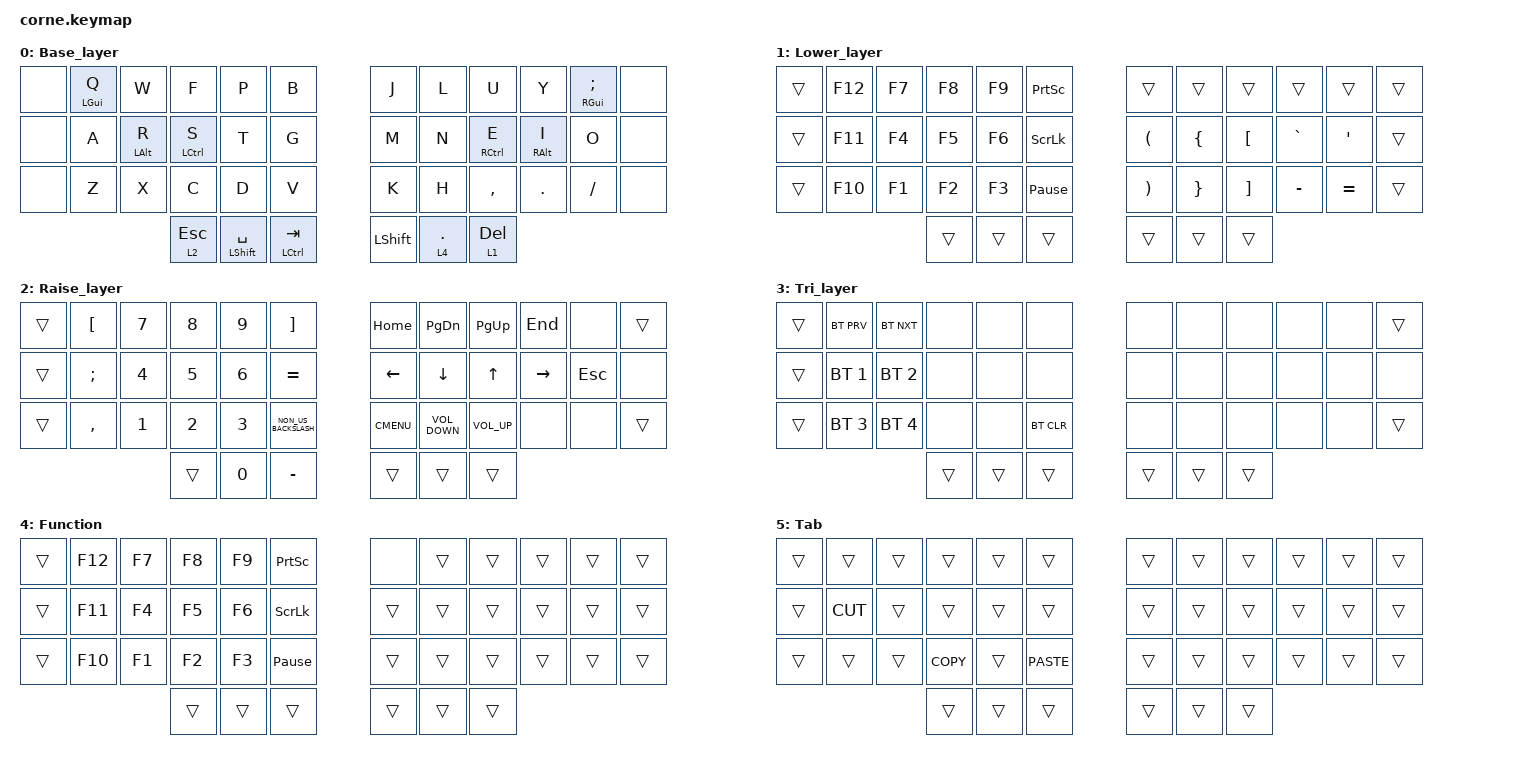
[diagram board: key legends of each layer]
#include <behaviors.dtsi>
#include <dt-bindings/zmk/bt.h>
#include <dt-bindings/zmk/keys.h>

#define BASE 0
#define LOWER 1
#define RAISE 2

/ {
    conditional_layers {
        compatible = "zmk,conditional-layers";

        tri_layer {
            if-layers = <1 2>;
            then-layer = <3>;
        };
    };

    macros {
        down_15: down_15 {
            label = "down_15";
            compatible = "zmk,behavior-macro";
            tap-ms = <0>;
            #binding-cells = <0>;
            bindings =
                <&macro_tap>,
                <&kp DOWN &kp DOWN &kp DOWN &kp DOWN &kp DOWN &kp DOWN &kp DOWN &kp DOWN &kp DOWN &kp DOWN &kp DOWN &kp DOWN &kp DOWN &kp DOWN &kp DOWN>;
        };

        up_15: up_15 {
            label = "up_15";
            compatible = "zmk,behavior-macro";
            tap-ms = <0>;
            #binding-cells = <0>;
            bindings =
                <&macro_tap>,
                <&kp UP &kp UP &kp UP &kp UP &kp UP &kp UP &kp UP &kp UP &kp UP &kp UP &kp UP &kp UP &kp UP &kp UP &kp UP>;
        };
    };

    combos {
        compatible = "zmk,combos";

        backspace {
            bindings = <&kp BACKSPACE>;
            key-positions = <19 20>;
        };

        caps {
            bindings = <&kp CAPSLOCK>;
            key-positions = <16 19>;
        };

        ENTER2 {
            bindings = <&kp ENTER>;
            key-positions = <21 22>;
        };
    };

    keymap {
        compatible = "zmk,keymap";

        Base_layer {
            bindings = <
&none  &mt LEFT_GUI Q  &kp W           &kp F               &kp P                 &kp B                   &kp J           &kp L         &kp U                &kp Y            &mt RIGHT_GUI SEMICOLON  &none
&none  &kp A           &mt LEFT_ALT R  &mt LEFT_CONTROL S  &kp T                 &kp G                   &kp M           &kp N         &mt RIGHT_CONTROL E  &mt RIGHT_ALT I  &kp O                    &none
&none  &kp Z           &kp X           &kp C               &kp D                 &kp V                   &kp K           &kp H         &kp COMMA            &kp PERIOD       &kp SLASH                &none
                                       &lt 2 ESCAPE        &mt LEFT_SHIFT SPACE  &mt LEFT_CONTROL TAB    &kp LEFT_SHIFT  &lt 4 PERIOD  &lt 1 DELETE
            >;
        };

        Lower_layer {
            bindings = <
&trans  &kp F12  &kp F7  &kp F8  &kp F9  &kp PRINTSCREEN    &trans                 &trans           &trans             &trans     &trans     &trans
&trans  &kp F11  &kp F4  &kp F5  &kp F6  &kp SCROLLLOCK     &kp LEFT_PARENTHESIS   &kp LEFT_BRACE   &kp LEFT_BRACKET   &kp GRAVE  &kp SQT    &trans
&trans  &kp F10  &kp F1  &kp F2  &kp F3  &kp PAUSE_BREAK    &kp RIGHT_PARENTHESIS  &kp RIGHT_BRACE  &kp RIGHT_BRACKET  &kp MINUS  &kp EQUAL  &trans
                         &trans  &trans  &trans             &trans                 &trans           &trans
            >;
        };

        Raise_layer {
            bindings = <
&trans  &kp LEFT_BRACKET  &kp N7        &kp N8        &kp NUMBER_9  &kp RIGHT_BRACKET       &kp HOME     &kp PG_DN          &kp PG_UP        &kp END    &none       &trans
&trans  &kp SEMICOLON     &kp NUMBER_4  &kp N5        &kp N6        &kp EQUAL               &kp LEFT     &kp DOWN           &kp UP           &kp RIGHT  &kp ESCAPE  &none
&trans  &kp COMMA         &kp NUMBER_1  &kp NUMBER_2  &kp NUMBER_3  &kp NON_US_BACKSLASH    &kp K_CMENU  &kp C_VOLUME_DOWN  &kp C_VOLUME_UP  &none      &none       &trans
                                        &trans        &kp N0        &kp MINUS               &trans       &trans             &trans
            >;
        };

        Tri_layer {
            bindings = <
&trans  &bt BT_PRV    &bt BT_NXT    &none   &none   &none         &none   &none   &none   &none  &none  &trans
&trans  &bt BT_SEL 1  &bt BT_SEL 2  &none   &none   &none         &none   &none   &none   &none  &none  &none
&trans  &bt BT_SEL 3  &bt BT_SEL 4  &none   &none   &bt BT_CLR    &none   &none   &none   &none  &none  &trans
                                    &trans  &trans  &trans        &trans  &trans  &trans
            >;
        };

        Function {
            bindings = <
&trans  &kp F12  &kp F7  &kp F8  &kp F9  &kp PRINTSCREEN    &none   &trans  &trans  &trans  &trans  &trans
&trans  &kp F11  &kp F4  &kp F5  &kp F6  &kp SCROLLLOCK     &trans  &trans  &trans  &trans  &trans  &trans
&trans  &kp F10  &kp F1  &kp F2  &kp F3  &kp PAUSE_BREAK    &trans  &trans  &trans  &trans  &trans  &trans
                         &trans  &trans  &trans             &trans  &trans  &trans
            >;
        };

        Tab {
            bindings = <
&trans  &trans     &trans  &trans      &trans  &trans         &trans  &trans  &trans  &trans  &trans  &trans
&trans  &kp K_CUT  &trans  &trans      &trans  &trans         &trans  &trans  &trans  &trans  &trans  &trans
&trans  &trans     &trans  &kp K_COPY  &trans  &kp K_PASTE    &trans  &trans  &trans  &trans  &trans  &trans
                           &trans      &trans  &trans         &trans  &trans  &trans
            >;
        };
    };
};
